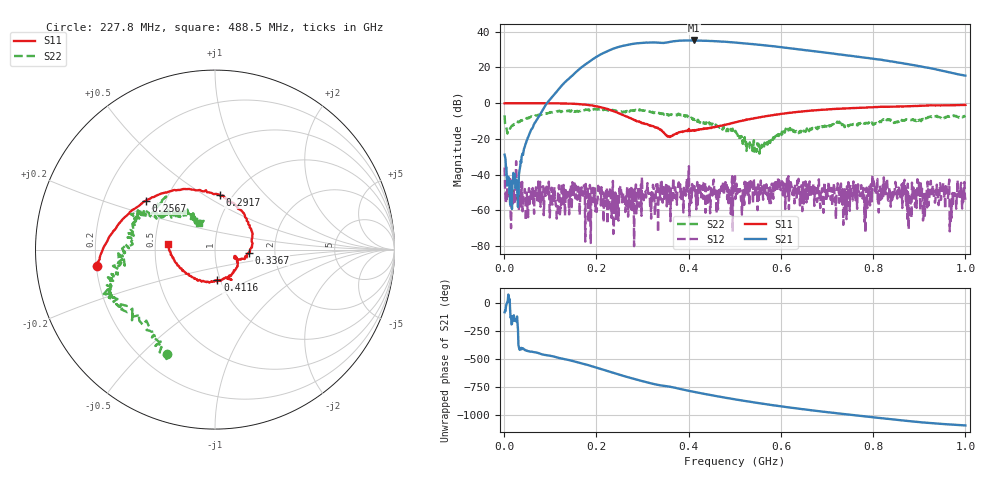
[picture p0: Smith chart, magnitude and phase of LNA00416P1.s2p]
! Created with skrf 1.9.0 (http://scikit-rf.org).
# Hz S RI R 50.0
!freq ReS11 ImS11 ReS21 ImS21 ReS12 ImS12 ReS22 ImS22
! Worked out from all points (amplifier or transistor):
!   1001 points, 1 MHz to 1 GHz, reference 50 ohm
!   highest |S21| = 35.1 dB at 410.6 MHz (marker M1)
!   |S21| within 3 dB of that: 257.4 MHz to 574.3 MHz (316.9 MHz wide, 76.2 % of centre) (the widest 1 of 2)
!   unconditionally stable (mu >= 1): 211.7 MHz to 298.5 MHz; 299.1 MHz to 399.8 MHz; 400.8 MHz to end of sweep (the widest 3 of 34)
!   at 166.8 MHz: K = 1.40, MAG = 32.4 dB, |S12| = -52.5 dB
!   at 500.5 MHz: K = 1.25, MAG = 34.4 dB, |S12| = -40.9 dB
!   at 1 GHz: K = 6.88, MAG = 23.4 dB, |S12| = -54.0 dB
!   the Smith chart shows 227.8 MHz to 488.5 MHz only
!   S11 on the Smith chart (normalised r, x): 227.8 MHz: 0.20, -0.07; 256.7 MHz: 0.39, +0.27; 291.7 MHz: 0.87, +0.59; 336.7 MHz: 1.46, -0.05; 411.6 MHz: 0.97, -0.34; 488.5 MHz: 0.58, +0.04
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1000000  0.9902 0.01  0.00654 -0.0357  -0.00564 0.0149  0.307 0.3406
1.08892e8  0.5262 -0.8413  -0.8085 -1.566  0.00111 -0.0044  0.4303 -0.3814
1.67833e8  -0.2236 -0.9001  -10.1 -0.6223  0.00216 -0.00385  0.0458 -0.6241
2.03797e8  -0.6235 -0.4968  -16.31 13.47  -0.0042 -0.00253  -0.161 -0.6515
2.27773e8  -0.6561 -0.0895  -10.02 28.19  0.00076 -0.000653  -0.2666 -0.5807
2.56744e8  -0.3867 0.2715  11.62 38.23  -0.000655 0.00274  -0.3692 -0.4248
2.91709e8  0.0253 0.3052  40.23 25.82  -0.00159 0.00111  -0.6004 -0.2574
3.13687e8  0.1775 0.1707  49.12 7.634  -0.00187 0.00239  -0.568 -0.1389
3.34666e8  0.1941 -0.00924  48.45 -8.849  0.00246 0.00175  -0.5329 -0.0513
3.36664e8  0.1871 -0.0173  48.03 -10.21  -0.00266 -0.00029  -0.5336 -0.0353
3.71629e8  0.1235 -0.0604  44.15 -32.66  0.00136 0.00315  -0.4386 0.1837
4.1059e8  0.0294 -0.1728  18.36 -53.73  -0.00391 0.00325  -0.2984 0.2155
4.11589e8  0.0131 -0.1712  17.71 -53.5  0.00374 0.00248  -0.2902 0.1879
4.46554e8  -0.1424 -0.1457  -9.129 -54.23  0.000613 0.000565  -0.1626 0.2123
4.88512e8  -0.2614 0.0297  -33.07 -38.91  0.00219 -0.000838  -0.0886 0.1501
5.005e8  -0.2698 0.0986  -37.57 -32.91  0.00549 -0.00715  -0.1005 0.1017
5.63437e8  -0.1559 0.3947  -41.57 -0.4998  0.000944 -0.00573  -0.0587 -0.018
6.11389e8  0.054 0.5196  -31.31 16.18  0.00291 -0.00404  -0.1712 -0.0758
6.67333e8  0.3194 0.5328  -15.54 24.18  0.00217 -0.00252  -0.1794 -0.0456
7.53247e8  0.6233 0.3728  2.999 20.69  -0.00298 0.00118  -0.2475 -0.000268
8.34166e8  0.784 0.1463  10.54 10.83  -0.00215 0.00097  -0.3539 -0.0103
1e9  0.8128 -0.3739  5.757 -1.256  -0.00161 -0.00116  -0.3298 0.2902
